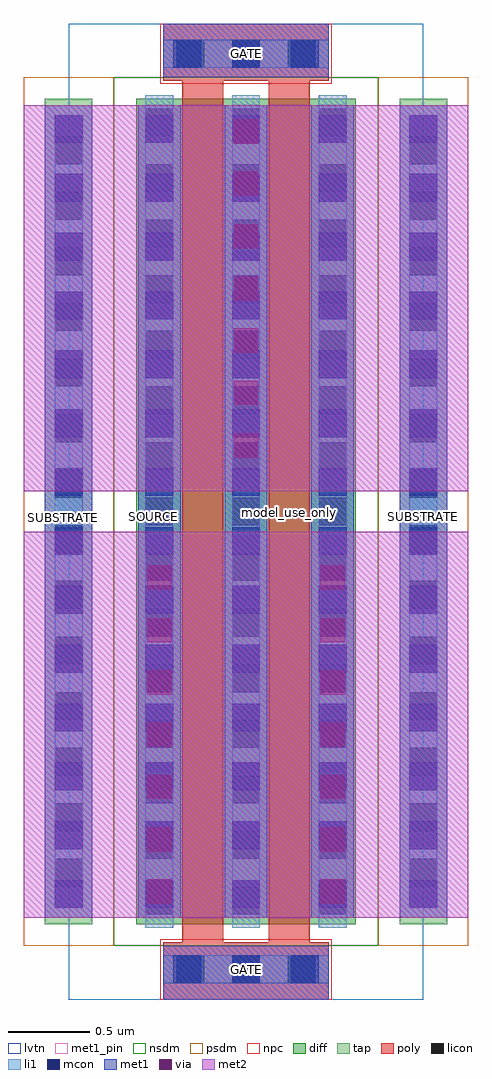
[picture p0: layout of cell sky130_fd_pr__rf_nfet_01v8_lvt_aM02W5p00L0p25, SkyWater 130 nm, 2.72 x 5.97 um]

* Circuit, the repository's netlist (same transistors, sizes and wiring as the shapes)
* Copyright 2022 Mabrains
*
* This program is free software: you can redistribute it and/or modify
* it under the terms of the GNU Affero General Public License as published
* by the Free Software Foundation, either version 3 of the License, or
* (at your option) any later version.
* 
* This program is distributed in the hope that it will be useful,
* but WITHOUT ANY WARRANTY; without even the implied warranty of
* MERCHANTABILITY or FITNESS FOR A PARTICULAR PURPOSE.  See the
* GNU Affero General Public License for more details.
* 
* You should have received a copy of the GNU Affero General Public License
* along with this program.  If not, see <https://www.gnu.org/licenses/>.

.SUBCKT sky130_fd_pr__rf_nfet_01v8_lvt_aM02W5p00L0p25 DRAIN GATE SOURCE SUBSTRATE

Mx DRAIN GATE SOURCE SUBSTRATE sky130_fd_pr__rf_nfet_01v8_lvt_aM02W5p00L0p25 W=10.0u L=0.25u nf=2 m=1 ad=0.725p as=0.725p pd=5.58u ps=5.58u nrd=0.058 nrs=0.058 sa=0 sb=0 sd=0

.ENDS

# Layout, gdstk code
import gdstk
lib = gdstk.Library(unit=1e-6, precision=1e-09)
def R(c, l, rs):  # rectangles x0, y0, x1, y1
    for r in rs: c.add(gdstk.rectangle(r[:2], r[2:], *l))
def A(c, l, x, y, w, h, nx, ny, dx, dy):  # array of equal rectangles
    R(c, l, [(x+i*dx, y+j*dy, x+i*dx+w, y+j*dy+h) for i in range(nx) for j in range(ny)])
diff = (65, 20)
tap = (65, 44)
poly = (66, 20)
licon = (66, 44)
li1 = (67, 20)
mcon = (67, 44)
met1_pin = (68, 16)
met1 = (68, 20)
via = (68, 44)
met2 = (69, 20)
nsdm = (93, 44)
psdm = (94, 20)
npc = (95, 20)
lvtn = (125, 44)

sky130_fd_pr__rf_nfet_01 = lib.new_cell('sky130_fd_pr__rf_nfet_01v8_lvt_aM02W5p00L0p25')
R(sky130_fd_pr__rf_nfet_01, diff, [(0.74,0.51,2.08,5.56)])
R(sky130_fd_pr__rf_nfet_01, tap, [(0.18,0.51,0.47,5.56), (2.35,0.51,2.64,5.56)])
R(sky130_fd_pr__rf_nfet_01, poly, [(0.905,0.05,1.915,0.4), (1.02,0.4,1.27,5.67), (1.55,0.4,1.8,5.67), (0.905,5.67,1.915,6.02)])
A(sky130_fd_pr__rf_nfet_01, licon, 0.985, 0.15, 0.17, 0.17, 3, 2, 0.34, 5.6)
A(sky130_fd_pr__rf_nfet_01, licon, 0.795, 0.57, 0.17, 0.17, 3, 15, 0.53, 0.34)
A(sky130_fd_pr__rf_nfet_01, licon, 0.24, 0.74, 0.17, 0.17, 1, 14, 0, 0.34)
A(sky130_fd_pr__rf_nfet_01, licon, 2.41, 0.74, 0.17, 0.17, 1, 14, 0, 0.34)
A(sky130_fd_pr__rf_nfet_01, li1, 0.795, 0.49, 0.17, 5.09, 3, 1, 0.53, 0)
A(sky130_fd_pr__rf_nfet_01, li1, 0.795, 1.69, 0.17, 2.69, 3, 1, 0.53, 0)
R(sky130_fd_pr__rf_nfet_01, li1, [(0.905,0.15,1.915,0.32), (0.965,0.15,1.855,0.32), (0.24,0.61,0.41,5.46), (2.41,0.61,2.58,5.46), (0.24,0.66,0.41,5.41), (2.41,0.66,2.58,5.41), (0.24,1.68,0.41,4.39), (2.41,1.68,2.58,4.39), (0.905,5.75,1.915,5.92), (0.965,5.75,1.855,5.92)])
A(sky130_fd_pr__rf_nfet_01, mcon, 0.965, 0.15, 0.17, 0.17, 3, 2, 0.36, 5.6)
A(sky130_fd_pr__rf_nfet_01, mcon, 0.24, 0.61, 0.17, 0.17, 1, 14, 0, 0.36)
A(sky130_fd_pr__rf_nfet_01, mcon, 0.795, 0.61, 0.17, 0.17, 3, 14, 0.53, 0.36)
A(sky130_fd_pr__rf_nfet_01, mcon, 2.41, 0.61, 0.17, 0.17, 1, 14, 0, 0.36)
R(sky130_fd_pr__rf_nfet_01, met1_pin, [(0.905,0.05,1.915,0.38), (0.905,5.69,1.915,6.02)])
A(sky130_fd_pr__rf_nfet_01, met1, 0.75, 0.55, 0.26, 4.97, 3, 1, 0.53, 0)
R(sky130_fd_pr__rf_nfet_01, met1, [(0.905,0.05,1.915,0.38), (0.18,0.55,0.47,5.52), (0.75,0.55,1.01,2.79), (1.81,0.55,2.07,2.79), (2.35,0.55,2.64,5.52), (1.28,3.28,1.54,5.52), (0.905,5.69,1.915,6.02)])
A(sky130_fd_pr__rf_nfet_01, via, 0.805, 0.635, 0.15, 0.15, 1, 7, 0, 0.32)
A(sky130_fd_pr__rf_nfet_01, via, 1.865, 0.635, 0.15, 0.15, 1, 7, 0, 0.32)
A(sky130_fd_pr__rf_nfet_01, via, 1.335, 3.365, 0.15, 0.15, 1, 7, 0, 0.32)
R(sky130_fd_pr__rf_nfet_01, met2, [(0.05,0.55,2.77,2.91), (0.75,0.55,1.01,2.79), (1.81,0.55,2.07,2.79), (0.05,3.16,2.77,5.52), (1.28,3.28,1.54,5.52)])
R(sky130_fd_pr__rf_nfet_01, nsdm, [(0.6,0.38,2.22,5.69)])
R(sky130_fd_pr__rf_nfet_01, psdm, [(0.05,0.38,0.6,5.69), (2.22,0.38,2.77,5.69)])
R(sky130_fd_pr__rf_nfet_01, npc, [(0.885,0.05,1.935,0.42), (0.885,5.65,1.935,6.02)])
R(sky130_fd_pr__rf_nfet_01, lvtn, [(0.325,0.05,2.495,6.02)])
sky130_fd_pr__rf_nfet_01.add(gdstk.Label('model_use_only', (1.675,3.03), layer=66, texttype=83))
sky130_fd_pr__rf_nfet_01.add(gdstk.Label('model_use_only', (1.145,3.03), layer=66, texttype=83))
sky130_fd_pr__rf_nfet_01.add(gdstk.Label('DRAIN', (1.394,2.989), layer=68, texttype=5))
sky130_fd_pr__rf_nfet_01.add(gdstk.Label('SOURCE', (1.949,3.043), layer=68, texttype=5))
sky130_fd_pr__rf_nfet_01.add(gdstk.Label('SOURCE', (0.847,3.004), layer=68, texttype=5))
sky130_fd_pr__rf_nfet_01.add(gdstk.Label('SUBSTRATE', (2.496,3.004), layer=68, texttype=5))
sky130_fd_pr__rf_nfet_01.add(gdstk.Label('SUBSTRATE', (0.293,2.997), layer=68, texttype=5))
sky130_fd_pr__rf_nfet_01.add(gdstk.Label('GATE', (1.41,5.835), layer=68, texttype=5))
sky130_fd_pr__rf_nfet_01.add(gdstk.Label('GATE', (1.41,0.235), layer=68, texttype=5))

lib.write_gds('sky130_fd_pr__rf_nfet_01v8_lvt_aM02W5p00L0p25.gds')
